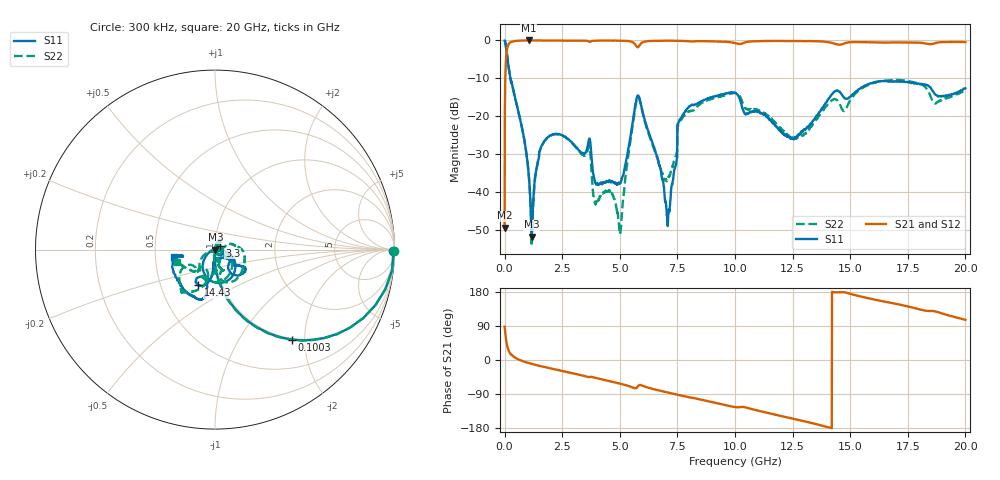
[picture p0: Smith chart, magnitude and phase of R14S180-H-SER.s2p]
!{R14S180}
!Johanson Technology Inc.
!www.johansontechnology.com
!Test Board Conditions:
!Substrate Type  RO4350B
!Substrate Thickness  20 mil
!Substrate Dk  3.66
!TL Type: GCPW
!TL Trace Width  36 mil
!TL Gap  12 mil
!Electrode orientation  Horizontal
!DUT TOPOLOGY	SERIES
!Mounting Pad LxW  26x36 mil
! Created Wed Nov 25 17:33:21 2020
! 2 Port Network Data from SP1.SP block
! freq  magS11  angS11  magS21  angS21  magS12  angS12  magS22  angS22
# khz S ma R 50
! decimated to every 10th point (10 MHz spacing) of the original 1 MHz Johanson file; values unchanged
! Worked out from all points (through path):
!   2001 points, 300 kHz to 20 GHz, reference 50 ohm
!   highest |S21| = 0.00 dB at 1.05 GHz (marker M1); lowest = -49.3 dB at 300 kHz (marker M2)
!   group delay of S21, straight-line fit = 35.8 ps
!   lowest |S11| = -51.7 dB at 1.18 GHz (marker M3), VSWR 1.01, Z = 50.3 - j0.00814 ohm
!   |S11| at or under -10 dB: 252.8 MHz to end of sweep
!   |S22| runs from -54.2 to 0.0 dB; largest |S21 - S12| = 0.017
!   S11 on the Smith chart (normalised r, x): 300 kHz: open; 100.3 MHz: 0.98, -1.73; 3.3 GHz: 1.05, +0.05; 14.43 GHz: 0.77, -0.32; 20 GHz: 0.62, -0.05
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300  0.9941 -0.5  0.003416 87.9  0.003342 90.5  0.9987 -0.4
100300  0.6579 -49.6  0.7506 40.3  0.7509 40.3  0.6595 -49.7
310300  0.2768 -76.0  0.9583 13.6  0.959 13.5  0.2778 -76.2
1050300  0.01655 -89.7  0.9997 -8.0  0.9996 -8.0  0.01663 -105.0
1180300  0.002595 -1.8  0.9985 -10.2  0.9992 -10.3  0.001945 162.8
1780300  0.04928 69.8  0.9972 -19.3  0.9973 -19.3  0.04888 70.4
3300300  0.03412 41.1  0.9961 -39.8  0.9961 -39.8  0.03291 50.1
3340300  0.03311 39.4  0.9963 -40.4  0.9964 -40.3  0.03179 49.8
3660300  0.04948 -2.4  0.9666 -45.2  0.967 -45.2  0.04059 -0.4
3930300  0.01381 -69.3  0.9939 -47.1  0.9939 -47.1  0.007125 -154.1
4600300  0.01348 -81.8  0.9954 -56.4  0.9953 -56.4  0.009818 175.3
4980300  0.01296 -54.7  0.9937 -61.9  0.9928 -61.9  0.00323 114.4
5770300  0.1871 -68.5  0.8138 -70.7  0.814 -70.7  0.1791 -79.5
6670300  0.02611 -159.4  0.9911 -80.0  0.991 -80.0  0.02536 -152.3
7100300  0.004796 87.2  0.9926 -86.1  0.9929 -86.1  0.01526 -82.4
7650300  0.0945 -35.4  0.9866 -93.8  0.9874 -93.8  0.08962 20.5
1.00003e7  0.204 -41.7  0.9234 -124.3  0.9234 -124.3  0.2043 -57.7
1.23403e7  0.05409 -69.2  0.9823 -152.6  0.9853 -152.5  0.0556 -73.7
1.33403e7  0.08333 -95.9  0.9796 -166.5  0.9817 -166.4  0.07461 -71.2
1.44303e7  0.2195 -114.8  0.8869 178.5  0.8875 178.4  0.1635 -124.4
1.66703e7  0.2882 -112.8  0.9382 152.2  0.9314 152.0  0.2986 -127.4
2e7  0.234 -170.2  0.9516 106.0  0.952 106.1  0.2199 -162.0
